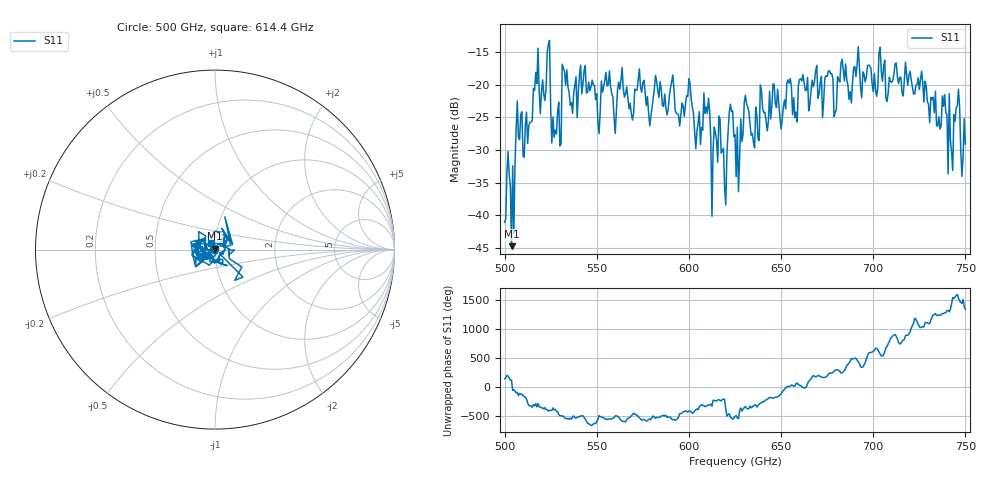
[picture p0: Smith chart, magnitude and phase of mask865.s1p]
!Created with skrf (http://scikit-rf.org).
# GHz S MA R 50.0
!freq magS11 angS11
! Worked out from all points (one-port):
!   401 points, 500 GHz to 750 GHz, reference 50 ohm
!   lowest |S11| = -44.7 dB at 503.8 GHz (marker M1), VSWR 1.01, Z = 49.7 + j0.521 ohm
!   |S11| at or under -10 dB: start of sweep to end of sweep
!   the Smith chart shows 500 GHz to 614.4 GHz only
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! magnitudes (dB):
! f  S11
! 500 GHz  -41.1
! 501.9 GHz  -30.2
! 503.8 GHz  -44.7
! 507.5 GHz  -28.0
! 513.8 GHz  -25.7
! 516.9 GHz  -18.1
! 523.8 GHz  -13.8
! 526.9 GHz  -28.0
! 531.2 GHz  -16.8
! 542.5 GHz  -19.8
! 550.6 GHz  -25.7
! 555.6 GHz  -20.2
! 559.4 GHz  -24.9
! 562.5 GHz  -20.7
! 568.8 GHz  -24.4
! 590.6 GHz  -19.6
! 593.8 GHz  -24.5
! 609.4 GHz  -23.4
! 618.8 GHz  -29.7
! 622.5 GHz  -23.0
! 625 GHz  -27.6
! 656.2 GHz  -24.6
! 687.5 GHz  -21.1
! 690.6 GHz  -18.7
! 718.8 GHz  -20.1
! 741.9 GHz  -28.6
! 745.6 GHz  -23.2
! 750 GHz  -29.1
